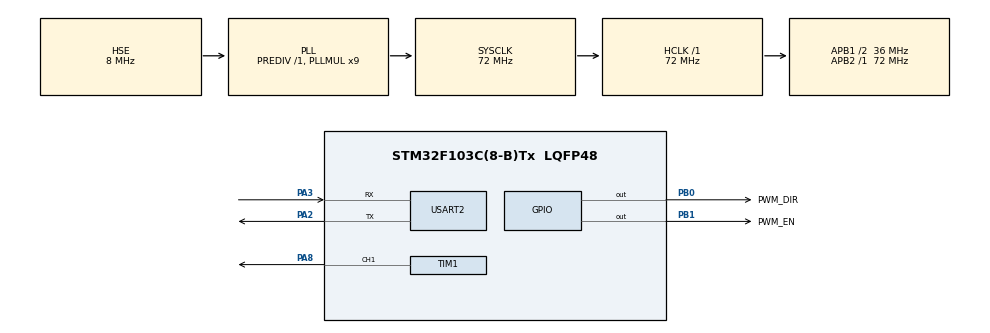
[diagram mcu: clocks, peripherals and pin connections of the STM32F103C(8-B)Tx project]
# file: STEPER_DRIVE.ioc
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Mcu.Family=STM32F1
Mcu.Name=STM32F103C(8-B)Tx
Mcu.Package=LQFP48
NVIC.PriorityGroup=NVIC_PRIORITYGROUP_4
NVIC.USART2_IRQn=true\:0\:0\:false\:false\:true\:true\:true\:true
PA13.Mode=Serial_Wire
PA13.Signal=SYS_JTMS-SWDIO
PA14.Mode=Serial_Wire
PA14.Signal=SYS_JTCK-SWCLK
PA2.Mode=Asynchronous
PA2.Signal=USART2_TX
PA3.Mode=Asynchronous
PA3.Signal=USART2_RX
PA8.Signal=S_TIM1_CH1
PB0.GPIO_Label=PWM_DIR
PB0.Signal=GPIO_Output
PB1.GPIO_Label=PWM_EN
PB1.Signal=GPIO_Output
PD0-OSC_IN.Mode=HSE-External-Oscillator
PD0-OSC_IN.Signal=RCC_OSC_IN
PD1-OSC_OUT.Mode=HSE-External-Oscillator
PD1-OSC_OUT.Signal=RCC_OSC_OUT
ProjectManager.HeapSize=0x200
ProjectManager.StackSize=0x400
ProjectManager.TargetToolchain=MDK-ARM V5.32
RCC.AHBFreq_Value=72000000
RCC.APB1CLKDivider=RCC_HCLK_DIV2
RCC.APB1Freq_Value=36000000
RCC.APB1TimFreq_Value=72000000
RCC.APB2Freq_Value=72000000
RCC.APB2TimFreq_Value=72000000
RCC.HCLKFreq_Value=72000000
RCC.PLLMUL=RCC_PLL_MUL9
RCC.PLLSourceVirtual=RCC_PLLSOURCE_HSE
RCC.SYSCLKFreq_VALUE=72000000
RCC.SYSCLKSource=RCC_SYSCLKSOURCE_PLLCLK
RCC.USBFreq_Value=72000000
SH.S_TIM1_CH1.0=TIM1_CH1,PWM Generation1 CH1
TIM1.Channel-PWM\ Generation1\ CH1=TIM_CHANNEL_1
TIM1.Period=pwm1_freq
TIM1.Prescaler=pwm1_pres
TIM1.Pulse-PWM\ Generation1\ CH1=pwm1_duty
USART2.VirtualMode=VM_ASYNC
VP_TIM1_VS_ClockSourceINT.Mode=Internal
board=custom

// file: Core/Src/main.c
/* USER CODE BEGIN Header */
/**
  ******************************************************************************
  * @file           : main.c
  * @brief          : Main program body
  ******************************************************************************
  * @attention
  *
  * Copyright (c) 2026 STMicroelectronics.
  * All rights reserved.
  *
  * This software is licensed under terms that can be found in the LICENSE file
  * in the root directory of this software component.
  * If no LICENSE file comes with this software, it is provided AS-IS.
  *
  ******************************************************************************
  */
/* USER CODE END Header */
#include "main.h"

/* USER CODE BEGIN Includes */
#include "string.h"

/* USER CODE END Includes */

TIM_HandleTypeDef htim1;

UART_HandleTypeDef huart2;

/* USER CODE BEGIN PV */
		// confige for pwm channle
uint16_t pwm1_pres = 72 -1;
uint16_t pwm1_freq = 100 -1;
uint16_t pwm1_duty = 50;
		// for uart data receive
uint8_t rxByte;
char rxBuffer[50];
uint8_t rxIndex = 0;
uint8_t commandReady = 0;
		// motor variable for steper motor
uint32_t frequency = 1000;
uint8_t duty = 50;
uint8_t direction = 0;
uint8_t motorEnable = 0;

/* USER CODE END PV */

void SystemClock_Config(void);
static void MX_GPIO_Init(void);
static void MX_USART2_UART_Init(void);
static void MX_TIM1_Init(void);

/* USER CODE BEGIN 0 */
void Debug_Print(char *msg)
{
    HAL_UART_Transmit(&huart2,
                      (uint8_t*)msg,
                      strlen(msg),
                      100);
}

void Set_PWM_Frequency(uint32_t freq)
{
    if(freq == 0)
        return;

    if(freq > 50000)
        freq = 50000;

    frequency = freq;

    uint32_t arr = (1000000/freq)-1;

    __HAL_TIM_SET_AUTORELOAD(&htim1, arr);

    __HAL_TIM_SET_COMPARE(
        &htim1,
        TIM_CHANNEL_1,
        (arr+1)*duty/100
    );
}
void Set_PWM_Duty(uint8_t d)
{
    if(d > 100)
        d = 100;

    duty = d;

    uint32_t arr =
        __HAL_TIM_GET_AUTORELOAD(&htim1);

    __HAL_TIM_SET_COMPARE(
        &htim1,
        TIM_CHANNEL_1,
        ((arr+1)*duty)/100
    );
}
void Motor_Start(void)
{
//    HAL_GPIO_WritePin(PWM_EN_GPIO_Port,
//                      PWM_EN_Pin,
//                      GPIO_PIN_RESET);   // Enable Driver

    HAL_GPIO_WritePin(PWM_EN_GPIO_Port,
                      PWM_EN_Pin,
                      GPIO_PIN_SET);     // Disable Driver

    HAL_TIM_PWM_Start(&htim1, TIM_CHANNEL_1);

    motorEnable = 1;

    Debug_Print("Motor ON\r\n");
}
void Motor_Stop(void)
{
    HAL_TIM_PWM_Stop(&htim1, TIM_CHANNEL_1);

//    HAL_GPIO_WritePin(PWM_EN_GPIO_Port,
//                      PWM_EN_Pin,
//                      GPIO_PIN_SET);     // Disable Driver
	HAL_GPIO_WritePin(PWM_EN_GPIO_Port,
                      PWM_EN_Pin,
                      GPIO_PIN_RESET);   // Enable Driver

    motorEnable = 0;

    Debug_Print("Motor OFF\r\n");
}

uint8_t String_Compare(char *s1, char *s2)
{
    while(*s1 && *s2)
    {
        if(*s1 != *s2)
        {
            return 0;
        }

        s1++;
        s2++;
    }

    return (*s1 == '\0' && *s2 == '\0');
}
uint32_t String_To_Int(char *str)
{
    uint32_t value = 0;

    while(*str >= '0' && *str <= '9')
    {
        value = value * 10;
        value = value + (*str - '0');
        str++;
    }

    return value;
}

void Parse_Command(char *rx)
{
    char command[10] = {0};
    char number[10]  = {0};

    uint8_t i = 0;
    uint8_t j = 0;
    uint32_t value = 0;

    // Check start bracket
    if(rx[0] != '(')
    {
        Debug_Print("ERR: Missing (\r\n");
        return;
    }

    i = 1; // Skip '('

    // Get command
    while(rx[i] &&
          rx[i] != '$' &&
          rx[i] != '&' &&
          j < sizeof(command)-1)
    {
        command[j++] = rx[i++];
    }

    command[j] = '\0';

    // Check separator
    if(rx[i] != '$' && rx[i] != '&')
    {
        Debug_Print("ERR: Separator\r\n");
        return;
    }

    i++; // Skip $ or &

    // Get value
    j = 0;

    while(rx[i] &&
          rx[i] != ')' &&
          j < sizeof(number)-1)
    {
        number[j++] = rx[i++];
    }

    number[j] = '\0';

    // Check ending bracket
    if(rx[i] != ')')
    {
        Debug_Print("ERR: Missing )\r\n");
        return;
    }

    // Convert ASCII to number
    value = String_To_Int(number);

    // ==========================
    // Command Processing
    // ==========================

    if(String_Compare(command, "freq"))
    {
        if(value == 0 || value > 50000)
        {
            Debug_Print("ERR: Frequency\r\n");
            return;
        }

        Set_PWM_Frequency(value);
        Debug_Print("OK: Frequency Set\r\n");
    }

    else if(String_Compare(command, "duty"))
    {
        if(value > 100)
        {
            Debug_Print("ERR: Duty\r\n");
            return;
        }

        Set_PWM_Duty(value);
        Debug_Print("OK: Duty Set\r\n");
    }

    else if(String_Compare(command, "forwd"))
    {
        if(value == 1)
        {
            HAL_GPIO_WritePin(PWM_DIR_GPIO_Port,
                  PWM_DIR_Pin,
                  GPIO_PIN_SET);

						Motor_Start();
            Debug_Print("OK: Forward Start\r\n");
        }
        else if(value == 0)
        {
            Motor_Stop();

            Debug_Print("OK: Motor Stop\r\n");
        }
        else
        {
            Debug_Print("ERR: Forward Value\r\n");
        }
    }

    else if(String_Compare(command, "back"))
    {
        if(value == 1)
        {
            HAL_GPIO_WritePin(PWM_DIR_GPIO_Port,
                  PWM_DIR_Pin,
                  GPIO_PIN_RESET);

						Motor_Start();

            Debug_Print("OK: Reverse Start\r\n");
        }
        else if(value == 0)
        {
            Motor_Stop();

            Debug_Print("OK: Motor Stop\r\n");
        }
        else
        {
            Debug_Print("ERR: Back Value\r\n");
        }
    }

    else if(String_Compare(command, "stop"))
    {
        Motor_Stop();

        Debug_Print("OK: Stop\r\n");
    }

    else
    {
        Debug_Print("ERR: Unknown CMD\r\n");
    }
}

/* USER CODE END 0 */

int main(void)
{

  /* MCU Configuration--------------------------------------------------------*/

  /* Reset of all peripherals, Initializes the Flash interface and the Systick. */
  HAL_Init();

  /* Configure the system clock */
  SystemClock_Config();

  /* Initialize all configured peripherals */
  MX_GPIO_Init();
  MX_USART2_UART_Init();
  MX_TIM1_Init();
  /* USER CODE BEGIN 2 */
	HAL_Delay(500);
	HAL_UART_Transmit(&huart2,
                  (uint8_t*)"UART OK\r\n",
                  9,
                  100);
	HAL_UART_Receive_IT(&huart2, &rxByte, 1);
	HAL_GPIO_WritePin(PWM_DIR_GPIO_Port,
                  PWM_DIR_Pin,
                  GPIO_PIN_RESET);

HAL_GPIO_WritePin(PWM_EN_GPIO_Port,
                  PWM_EN_Pin,
                  GPIO_PIN_SET);
									HAL_Delay(500);
HAL_UART_Transmit(&huart2,
                  (uint8_t*)"UART OK\r\n",
                  9,
                  100);
									//Motor_Start();

  /* USER CODE END 2 */

  /* Infinite loop */
  /* USER CODE BEGIN WHILE */
  while (1)
  {
    if(commandReady)
    {
        commandReady = 0;

        Parse_Command(rxBuffer);
    }
		HAL_Delay(10);
  }
  /* USER CODE END 3 */
}

void SystemClock_Config(void)
{
  RCC_OscInitTypeDef RCC_OscInitStruct = {0};
  RCC_ClkInitTypeDef RCC_ClkInitStruct = {0};

  /** Initializes the RCC Oscillators according to the specified parameters
  * in the RCC_OscInitTypeDef structure.
  */
  RCC_OscInitStruct.OscillatorType = RCC_OSCILLATORTYPE_HSE;
  RCC_OscInitStruct.HSEState = RCC_HSE_ON;
  RCC_OscInitStruct.HSEPredivValue = RCC_HSE_PREDIV_DIV1;
  RCC_OscInitStruct.HSIState = RCC_HSI_ON;
  RCC_OscInitStruct.PLL.PLLState = RCC_PLL_ON;
  RCC_OscInitStruct.PLL.PLLSource = RCC_PLLSOURCE_HSE;
  RCC_OscInitStruct.PLL.PLLMUL = RCC_PLL_MUL9;
  if (HAL_RCC_OscConfig(&RCC_OscInitStruct) != HAL_OK)
  {
    Error_Handler();
  }

  /** Initializes the CPU, AHB and APB buses clocks
  */
  RCC_ClkInitStruct.ClockType = RCC_CLOCKTYPE_HCLK|RCC_CLOCKTYPE_SYSCLK
                              |RCC_CLOCKTYPE_PCLK1|RCC_CLOCKTYPE_PCLK2;
  RCC_ClkInitStruct.SYSCLKSource = RCC_SYSCLKSOURCE_PLLCLK;
  RCC_ClkInitStruct.AHBCLKDivider = RCC_SYSCLK_DIV1;
  RCC_ClkInitStruct.APB1CLKDivider = RCC_HCLK_DIV2;
  RCC_ClkInitStruct.APB2CLKDivider = RCC_HCLK_DIV1;

  if (HAL_RCC_ClockConfig(&RCC_ClkInitStruct, FLASH_LATENCY_2) != HAL_OK)
  {
    Error_Handler();
  }
}

static void MX_TIM1_Init(void)
{

  TIM_ClockConfigTypeDef sClockSourceConfig = {0};
  TIM_MasterConfigTypeDef sMasterConfig = {0};
  TIM_OC_InitTypeDef sConfigOC = {0};
  TIM_BreakDeadTimeConfigTypeDef sBreakDeadTimeConfig = {0};

  htim1.Instance = TIM1;
  htim1.Init.Prescaler = pwm1_pres;
  htim1.Init.CounterMode = TIM_COUNTERMODE_UP;
  htim1.Init.Period = pwm1_freq;
  htim1.Init.ClockDivision = TIM_CLOCKDIVISION_DIV1;
  htim1.Init.RepetitionCounter = 0;
  htim1.Init.AutoReloadPreload = TIM_AUTORELOAD_PRELOAD_DISABLE;
  if (HAL_TIM_Base_Init(&htim1) != HAL_OK)
  {
    Error_Handler();
  }
  sClockSourceConfig.ClockSource = TIM_CLOCKSOURCE_INTERNAL;
  if (HAL_TIM_ConfigClockSource(&htim1, &sClockSourceConfig) != HAL_OK)
  {
    Error_Handler();
  }
  if (HAL_TIM_PWM_Init(&htim1) != HAL_OK)
  {
    Error_Handler();
  }
  sMasterConfig.MasterOutputTrigger = TIM_TRGO_RESET;
  sMasterConfig.MasterSlaveMode = TIM_MASTERSLAVEMODE_DISABLE;
  if (HAL_TIMEx_MasterConfigSynchronization(&htim1, &sMasterConfig) != HAL_OK)
  {
    Error_Handler();
  }
  sConfigOC.OCMode = TIM_OCMODE_PWM1;
  sConfigOC.Pulse = pwm1_duty;
  sConfigOC.OCPolarity = TIM_OCPOLARITY_HIGH;
  sConfigOC.OCNPolarity = TIM_OCNPOLARITY_HIGH;
  sConfigOC.OCFastMode = TIM_OCFAST_DISABLE;
  sConfigOC.OCIdleState = TIM_OCIDLESTATE_RESET;
  sConfigOC.OCNIdleState = TIM_OCNIDLESTATE_RESET;
  if (HAL_TIM_PWM_ConfigChannel(&htim1, &sConfigOC, TIM_CHANNEL_1) != HAL_OK)
  {
    Error_Handler();
  }
  sBreakDeadTimeConfig.OffStateRunMode = TIM_OSSR_DISABLE;
  sBreakDeadTimeConfig.OffStateIDLEMode = TIM_OSSI_DISABLE;
  sBreakDeadTimeConfig.LockLevel = TIM_LOCKLEVEL_OFF;
  sBreakDeadTimeConfig.DeadTime = 0;
  sBreakDeadTimeConfig.BreakState = TIM_BREAK_DISABLE;
  sBreakDeadTimeConfig.BreakPolarity = TIM_BREAKPOLARITY_HIGH;
  sBreakDeadTimeConfig.AutomaticOutput = TIM_AUTOMATICOUTPUT_DISABLE;
  if (HAL_TIMEx_ConfigBreakDeadTime(&htim1, &sBreakDeadTimeConfig) != HAL_OK)
  {
    Error_Handler();
  }
  HAL_TIM_MspPostInit(&htim1);

}

static void MX_USART2_UART_Init(void)
{

  huart2.Instance = USART2;
  huart2.Init.BaudRate = 115200;
  huart2.Init.WordLength = UART_WORDLENGTH_8B;
  huart2.Init.StopBits = UART_STOPBITS_1;
  huart2.Init.Parity = UART_PARITY_NONE;
  huart2.Init.Mode = UART_MODE_TX_RX;
  huart2.Init.HwFlowCtl = UART_HWCONTROL_NONE;
  huart2.Init.OverSampling = UART_OVERSAMPLING_16;
  if (HAL_UART_Init(&huart2) != HAL_OK)
  {
    Error_Handler();
  }

}

static void MX_GPIO_Init(void)
{
  GPIO_InitTypeDef GPIO_InitStruct = {0};

  /* GPIO Ports Clock Enable */
  __HAL_RCC_GPIOD_CLK_ENABLE();
  __HAL_RCC_GPIOA_CLK_ENABLE();
  __HAL_RCC_GPIOB_CLK_ENABLE();

  /*Configure GPIO pin Output Level */
  HAL_GPIO_WritePin(GPIOB, PWM_DIR_Pin|PWM_EN_Pin, GPIO_PIN_RESET);

  /*Configure GPIO pins : PWM_DIR_Pin PWM_EN_Pin */
  GPIO_InitStruct.Pin = PWM_DIR_Pin|PWM_EN_Pin;
  GPIO_InitStruct.Mode = GPIO_MODE_OUTPUT_PP;
  GPIO_InitStruct.Pull = GPIO_NOPULL;
  GPIO_InitStruct.Speed = GPIO_SPEED_FREQ_LOW;
  HAL_GPIO_Init(GPIOB, &GPIO_InitStruct);

}

/* USER CODE BEGIN 4 */
void HAL_UART_RxCpltCallback(UART_HandleTypeDef *huart)
{
    if(huart->Instance == USART2)
    {
        if(rxByte == '\n')
        {
            rxBuffer[rxIndex] = '\0';
            rxIndex = 0;
            commandReady = 1;
        }
        else
        {
            if(rxIndex < sizeof(rxBuffer)-1)
						{
								rxBuffer[rxIndex++] = rxByte;
						}
						else
						{
								rxIndex = 0;
								//Debug_Print("ERR: RX Overflow\r\n");
						}
        }

        // Restart UART interrupt
        HAL_UART_Receive_IT(&huart2, &rxByte, 1);
    }
}

/* USER CODE END 4 */

void Error_Handler(void)
{
  __disable_irq();
  while (1)
  {
  }
}
